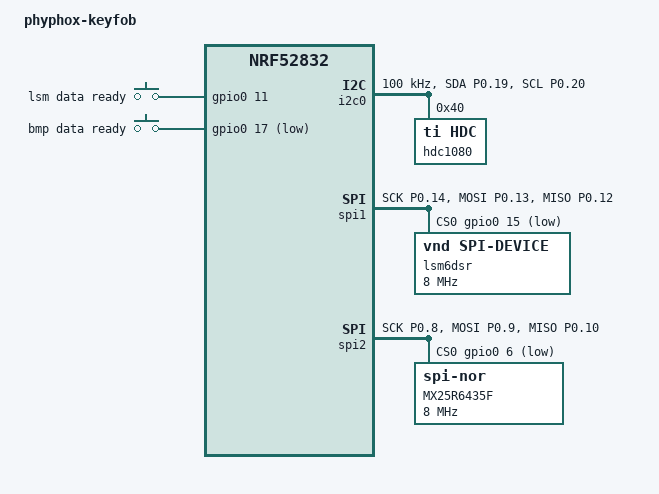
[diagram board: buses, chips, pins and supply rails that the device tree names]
/*
 * Copyright (c) 2017 Linaro Limited
 *
 * SPDX-License-Identifier: Apache-2.0
 */

 /dts-v1/;
 #include <nordic/nrf52832_qfaa.dtsi>
 
 / {
	 model = "phyphox-keyfob";
	 compatible = "phyphox,phyphox-keyfob";
	 aliases {
		i2c = &i2c0;
		spi= &spi1;
		spi2= &spi2;
		hdc = &hdc_node;
	 };
 
	 chosen {
		 zephyr,console = &uart0;
		 zephyr,shell-uart = &uart0;
		 zephyr,uart-mcumgr = &uart0;
		 zephyr,bt-mon-uart = &uart0;
		 zephyr,bt-c2h-uart = &uart0;
		 zephyr,sram = &sram0;
		 zephyr,flash = &flash0;
		 zephyr,code-partition = &slot0_partition;
	 };
 
	 leds {
		 compatible = "gpio-leds";		 
	 };
	buttons {
		compatible = "gpio-keys";
		button0: button_0 { // 
			gpios = <&gpio0 11 (GPIO_ACTIVE_HIGH)>;
			label = "lsm data ready";
		};
		button1: button_1 { // gpio31 P0.27
			gpios = <&gpio0 17 ( GPIO_PULL_UP | GPIO_ACTIVE_LOW)>;
			label = "bmp data ready";
		};
	};
 };

 &pinctrl {
    i2c0_default: i2c0_default {
		group1 {
			psels = <NRF_PSEL(TWIM_SDA, 0, 19)>, <NRF_PSEL(TWIM_SCL, 0, 20)>;
			bias-disable;
		};
		
	};
    i2c0_sleep: i2c0_sleep {
		group1 {
			psels = <NRF_PSEL(TWIM_SDA, 0, 19)>, <NRF_PSEL(TWIM_SCL, 0, 20)>;
			low-power-enable;
		};
		
	};
	spi_master_default: spi_master_default {
		group1 {
			psels = <NRF_PSEL(SPIM_SCK, 0, 14)>,
					<NRF_PSEL(SPIM_MOSI, 0, 13)>,
					<NRF_PSEL(SPIM_MISO, 0, 12)>;
		};
	};
	spi_master_sleep: spi_master_sleep {
		group1 {
			psels = <NRF_PSEL(SPIM_SCK, 0, 14)>,
					<NRF_PSEL(SPIM_MOSI, 0, 13)>,
					<NRF_PSEL(SPIM_MISO, 0, 12)>;
			low-power-enable;
		};
	};
	spi_flash_default: spi_flash_default {
		group1 {
			psels = <NRF_PSEL(SPIM_SCK, 0, 8)>,
					<NRF_PSEL(SPIM_MOSI, 0, 9)>,
					<NRF_PSEL(SPIM_MISO, 0, 10)>;
		};
	};
	spi_flash_sleep: spi_flash_sleep {
		group1 {
			psels = <NRF_PSEL(SPIM_SCK, 0, 8)>,
					<NRF_PSEL(SPIM_MOSI, 0, 9)>,
					<NRF_PSEL(SPIM_MISO, 0, 10)>;
			low-power-enable;
		};
	};		
};

 i2c_0: &i2c0 {
    compatible = "nordic,nrf-twim";
    status = "okay";
    //sda-pin = < 26 >;
    //scl-pin = < 6 >;
	pinctrl-0 = <&i2c0_default>;
	pinctrl-1 = <&i2c0_sleep>;
	pinctrl-names = "default", "sleep";
    label = "i2c";
    clock-frequency = <I2C_BITRATE_STANDARD>;

	hdc_node: hdc1080@40 {
		compatible =  "ti,hdc","ti,hdc1080";
		reg = <0x40>;
		label = "hdc1080";
	};
};

my_spi_master: &spi1 {
	compatible = "nordic,nrf-spi";
	status = "okay";
	pinctrl-0 = <&spi_master_default>;
	pinctrl-1 = <&spi_master_sleep>;
	pinctrl-names = "default", "sleep";
	cs-gpios = <&gpio0 15 ( GPIO_PULL_UP | GPIO_ACTIVE_LOW)>;
	
	lsm6dsr: lsm6dsr@0 {
		status = "okay";
		compatible = "vnd,spi-device";
		reg = <0>;
		spi-max-frequency = < 8000000 >;
	};
	
};

flash_spi_master: &spi2 {
	compatible = "nordic,nrf-spi";
	status = "okay";
	pinctrl-0 = <&spi_flash_default>;
	pinctrl-1 = <&spi_flash_sleep>;
	pinctrl-names = "default", "sleep";
	cs-gpios = <&gpio0 6 ( GPIO_PULL_UP | GPIO_ACTIVE_LOW)>;
	
	mx25r6435f: mx25r6435f@0 {
		status = "okay";
        compatible = "jedec,spi-nor";
        reg = <0>;
        spi-max-frequency = <8000000>;
        label = "MX25R6435F";
        jedec-id = [c2 28 15];
        size = <16777216>;
		
		has-dpd;
		t-enter-dpd = <10000>;
		t-exit-dpd = <35000>;
		
		sfdp-bfp = [

		e5 20 f1 ff ff ff ff 00 44 eb 08 6b 08 3b 04 bb

		ee ff ff ff ff ff 00 ff ff ff 00 ff 0c 20 0f 52

		10 d8 00 ff 23 72 f5 00 82 ed 04 c3 44 83 48 44

		30 b0 30 b0 f7 c4 d5 5c 00 be 29 ff f0 d0 ff ff

		];
		
    };
	
	
};
 
 &adc {
	 status = "disabled";
 };
 
 
 &gpiote {
	 status = "okay";
 };
 
 &gpio0 {
	 status = "okay";
	 sense-edge-mask = < 0xffffffff >;
 };
 
 /*
 &gpio1 {
	 status = "okay";
 };
 */
 
 &uart0 {
	 compatible = "nordic,nrf-uarte";
	 status = "disabled";
	 //current-speed = <115200>;
	 //tx-pin = <17>;
	 //rx-pin = <8>;
	 //rts-pin = <5>;
	 //cts-pin = <7>;
 };
 
 &flash0 {
 
	partitions {
		compatible = "fixed-partitions";
		#address-cells = <1>;
		#size-cells = <1>;

		boot_partition: partition@0 {
			label = "mcuboot";
			reg = <0x00000000 0xC000>;
		};
		slot0_partition: partition@c000 {
			label = "image-0";
			reg = <0x0000C000 0x37000>;
		};
		slot1_partition: partition@43000  {
			label = "image-1";
			reg = <0x00043000 0x37000>;
		};
		storage_partition: partition@7a000 {
			label = "storage";
			reg = <0x0007A000 0x00006000>;
		};
	};
 };
  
